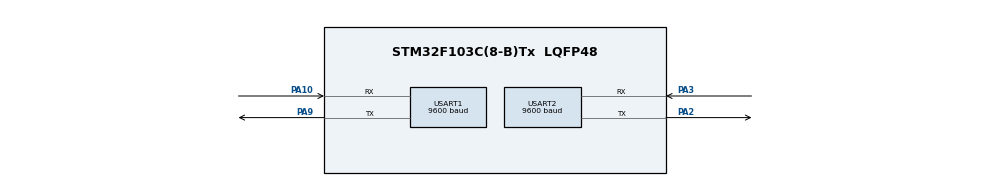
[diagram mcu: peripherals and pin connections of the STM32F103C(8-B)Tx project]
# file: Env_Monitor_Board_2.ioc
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Mcu.Family=STM32F1
Mcu.Name=STM32F103C(8-B)Tx
Mcu.Package=LQFP48
NVIC.PriorityGroup=NVIC_PRIORITYGROUP_4
NVIC.USART1_IRQn=true\:0\:0\:false\:false\:true\:true\:true\:true
NVIC.USART2_IRQn=true\:0\:0\:false\:false\:true\:true\:true\:true
PA10.Mode=Asynchronous
PA10.Signal=USART1_RX
PA2.Mode=Asynchronous
PA2.Signal=USART2_TX
PA3.Mode=Asynchronous
PA3.Signal=USART2_RX
PA9.Mode=Asynchronous
PA9.Signal=USART1_TX
ProjectManager.HeapSize=0x200
ProjectManager.StackSize=0x400
ProjectManager.TargetToolchain=STM32CubeIDE
RCC.APB1Freq_Value=8000000
RCC.APB2Freq_Value=8000000
USART1.BaudRate=9600
USART1.VirtualMode=VM_ASYNC
USART2.BaudRate=9600
USART2.VirtualMode=VM_ASYNC
VP_SYS_VS_ND.Mode=No_Debug
board=custom

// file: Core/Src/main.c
/* USER CODE BEGIN Header */
/**
  ******************************************************************************
  * @file           : main.c
  * @brief          : Main program body
  ******************************************************************************
  * @attention
  *
  * Copyright (c) 2026 STMicroelectronics.
  * All rights reserved.
  *
  * This software is licensed under terms that can be found in the LICENSE file
  * in the root directory of this software component.
  * If no LICENSE file comes with this software, it is provided AS-IS.
  *
  ******************************************************************************
  */
/* USER CODE END Header */
#include "main.h"
#include "main.h"
#include <stdio.h>
#include <string.h>

UART_HandleTypeDef huart1;
UART_HandleTypeDef huart2;

/* USER CODE BEGIN PV */
char remote_temp[10] = "0.0";
char remote_avg[10] = "0.0";
char remote_fire[15] = "UNKNOWN";
char remote_lock[5] = "0";

uint8_t rxByte1; // Buffer for UART1 byte-by-byte receive interrupt
uint32_t lastDisplayTick = 0;
void SystemClock_Config(void);
static void MX_GPIO_Init(void);
static void MX_USART1_UART_Init(void);
static void MX_USART2_UART_Init(void);
void printRemoteConsole(void);
void Parse_Telemetry(char *packet);
/* USER CODE END PV */

void SystemClock_Config(void);
static void MX_GPIO_Init(void);
static void MX_USART1_UART_Init(void);
static void MX_USART2_UART_Init(void);

/* USER CODE BEGIN 0 */
void printRemoteConsole(void)
{
    char uiBuffer[300];

    // Uses ANSI escape codes: \033[H (cursor to home) prevents screen flickering
    snprintf(uiBuffer, sizeof(uiBuffer),
             "\033[H"
             "=========================================\r\n"
             "   BOARD #2: REMOTE ENVIRONMENTAL MONITOR\r\n"
             "=========================================\r\n"
             " * Current Temperature : %s C\r\n"
             " * Moving Average Temp : %s C\r\n"
             " * Fire Safety Status  : [%s]\r\n"
             " * System Interlock    : %s\r\n"
             "=========================================\r\n"
             " Connection Status     : ACTIVE (Listening...)\r\n",
             remote_temp, remote_avg, remote_fire,
             (strcmp(remote_lock, "1") == 0) ? "!!! LOCKED OUT !!!" : "NORMAL OPERATION");

    HAL_UART_Transmit(&huart2, (uint8_t*)uiBuffer, strlen(uiBuffer), 100);
}

/* Parse incoming packet: "@TEMP=25.4|AVG=24.8|FIRE=SAFE|LOCK=0" */
void Parse_Telemetry(char *packet)
{
    if (packet[0] != '@') return; // Invalid packet validation

    char *token;
    // Strip the starting '@'
    char *data = &packet[1];

    // Split packet using token delimiters '|'
    token = strtok(data, "|");
    while (token != NULL) {
        if (strncmp(token, "TEMP=", 5) == 0) {
            strncpy(remote_temp, token + 5, sizeof(remote_temp) - 1);
        } else if (strncmp(token, "AVG=", 4) == 0) {
            strncpy(remote_avg, token + 4, sizeof(remote_avg) - 1);
        } else if (strncmp(token, "FIRE=", 5) == 0) {
            strncpy(remote_fire, token + 5, sizeof(remote_fire) - 1);
        } else if (strncmp(token, "LOCK=", 5) == 0) {
            strncpy(remote_lock, token + 5, sizeof(remote_lock) - 1);
        }
        token = strtok(NULL, "|");
    }

    // Refresh display immediately with newly updated data
    printRemoteConsole();
}
void HAL_UART_RxCpltCallback(UART_HandleTypeDef *huart)
{
    if (huart->Instance == USART1)
    {
        static char rxBuffer[100];
        static uint8_t rxIndex = 0;

        // Packet complete on newline
        if (rxByte1 == '\n' || rxByte1 == '\r')
        {
            if (rxIndex > 0)
            {
                rxBuffer[rxIndex] = '\0';
                Parse_Telemetry(rxBuffer);
                rxIndex = 0;
            }
        }
        else if (rxIndex < sizeof(rxBuffer) - 1)
        {
            rxBuffer[rxIndex++] = (char)rxByte1;
        }

        // Re-arm interrupt for next byte
        HAL_UART_Receive_IT(&huart1, &rxByte1, 1);
    }
}
/* USER CODE END 0 */

int main(void)
{

  /* MCU Configuration--------------------------------------------------------*/

  /* Reset of all peripherals, Initializes the Flash interface and the Systick. */
  HAL_Init();

  /* Configure the system clock */
  SystemClock_Config();

  /* Initialize all configured peripherals */
  MX_GPIO_Init();
  MX_USART1_UART_Init();
  MX_USART2_UART_Init();
  /* USER CODE BEGIN 2 */
  char clearScreen[] = "\033[2J\033[H";
    HAL_UART_Transmit(&huart2, (uint8_t*)clearScreen, strlen(clearScreen), HAL_MAX_DELAY);

    // Start listening to Board 1 transmissions via interrupt
    HAL_UART_Receive_IT(&huart1, &rxByte1, 1);

  /* USER CODE END 2 */

  /* Infinite loop */
  /* USER CODE BEGIN WHILE */
  while (1)
  {
	  if (HAL_GetTick() - lastDisplayTick >= 1500)
	        {
	            lastDisplayTick = HAL_GetTick();
	            printRemoteConsole();
	        }

    /* USER CODE END WHILE */

  }
}

void SystemClock_Config(void)
{
  RCC_OscInitTypeDef RCC_OscInitStruct = {0};
  RCC_ClkInitTypeDef RCC_ClkInitStruct = {0};

  /** Initializes the RCC Oscillators according to the specified parameters
  * in the RCC_OscInitTypeDef structure.
  */
  RCC_OscInitStruct.OscillatorType = RCC_OSCILLATORTYPE_HSI;
  RCC_OscInitStruct.HSIState = RCC_HSI_ON;
  RCC_OscInitStruct.HSICalibrationValue = RCC_HSICALIBRATION_DEFAULT;
  RCC_OscInitStruct.PLL.PLLState = RCC_PLL_NONE;
  if (HAL_RCC_OscConfig(&RCC_OscInitStruct) != HAL_OK)
  {
    Error_Handler();
  }

  /** Initializes the CPU, AHB and APB buses clocks
  */
  RCC_ClkInitStruct.ClockType = RCC_CLOCKTYPE_HCLK|RCC_CLOCKTYPE_SYSCLK
                              |RCC_CLOCKTYPE_PCLK1|RCC_CLOCKTYPE_PCLK2;
  RCC_ClkInitStruct.SYSCLKSource = RCC_SYSCLKSOURCE_HSI;
  RCC_ClkInitStruct.AHBCLKDivider = RCC_SYSCLK_DIV1;
  RCC_ClkInitStruct.APB1CLKDivider = RCC_HCLK_DIV1;
  RCC_ClkInitStruct.APB2CLKDivider = RCC_HCLK_DIV1;

  if (HAL_RCC_ClockConfig(&RCC_ClkInitStruct, FLASH_LATENCY_0) != HAL_OK)
  {
    Error_Handler();
  }
}

static void MX_USART1_UART_Init(void)
{

  huart1.Instance = USART1;
  huart1.Init.BaudRate = 9600;
  huart1.Init.WordLength = UART_WORDLENGTH_8B;
  huart1.Init.StopBits = UART_STOPBITS_1;
  huart1.Init.Parity = UART_PARITY_NONE;
  huart1.Init.Mode = UART_MODE_TX_RX;
  huart1.Init.HwFlowCtl = UART_HWCONTROL_NONE;
  huart1.Init.OverSampling = UART_OVERSAMPLING_16;
  if (HAL_UART_Init(&huart1) != HAL_OK)
  {
    Error_Handler();
  }

}

static void MX_USART2_UART_Init(void)
{

  huart2.Instance = USART2;
  huart2.Init.BaudRate = 9600;
  huart2.Init.WordLength = UART_WORDLENGTH_8B;
  huart2.Init.StopBits = UART_STOPBITS_1;
  huart2.Init.Parity = UART_PARITY_NONE;
  huart2.Init.Mode = UART_MODE_TX_RX;
  huart2.Init.HwFlowCtl = UART_HWCONTROL_NONE;
  huart2.Init.OverSampling = UART_OVERSAMPLING_16;
  if (HAL_UART_Init(&huart2) != HAL_OK)
  {
    Error_Handler();
  }

}

static void MX_GPIO_Init(void)
{

  /* GPIO Ports Clock Enable */
  __HAL_RCC_GPIOA_CLK_ENABLE();

}

void Error_Handler(void)
{
  __disable_irq();
  while (1)
  {
  }
}
